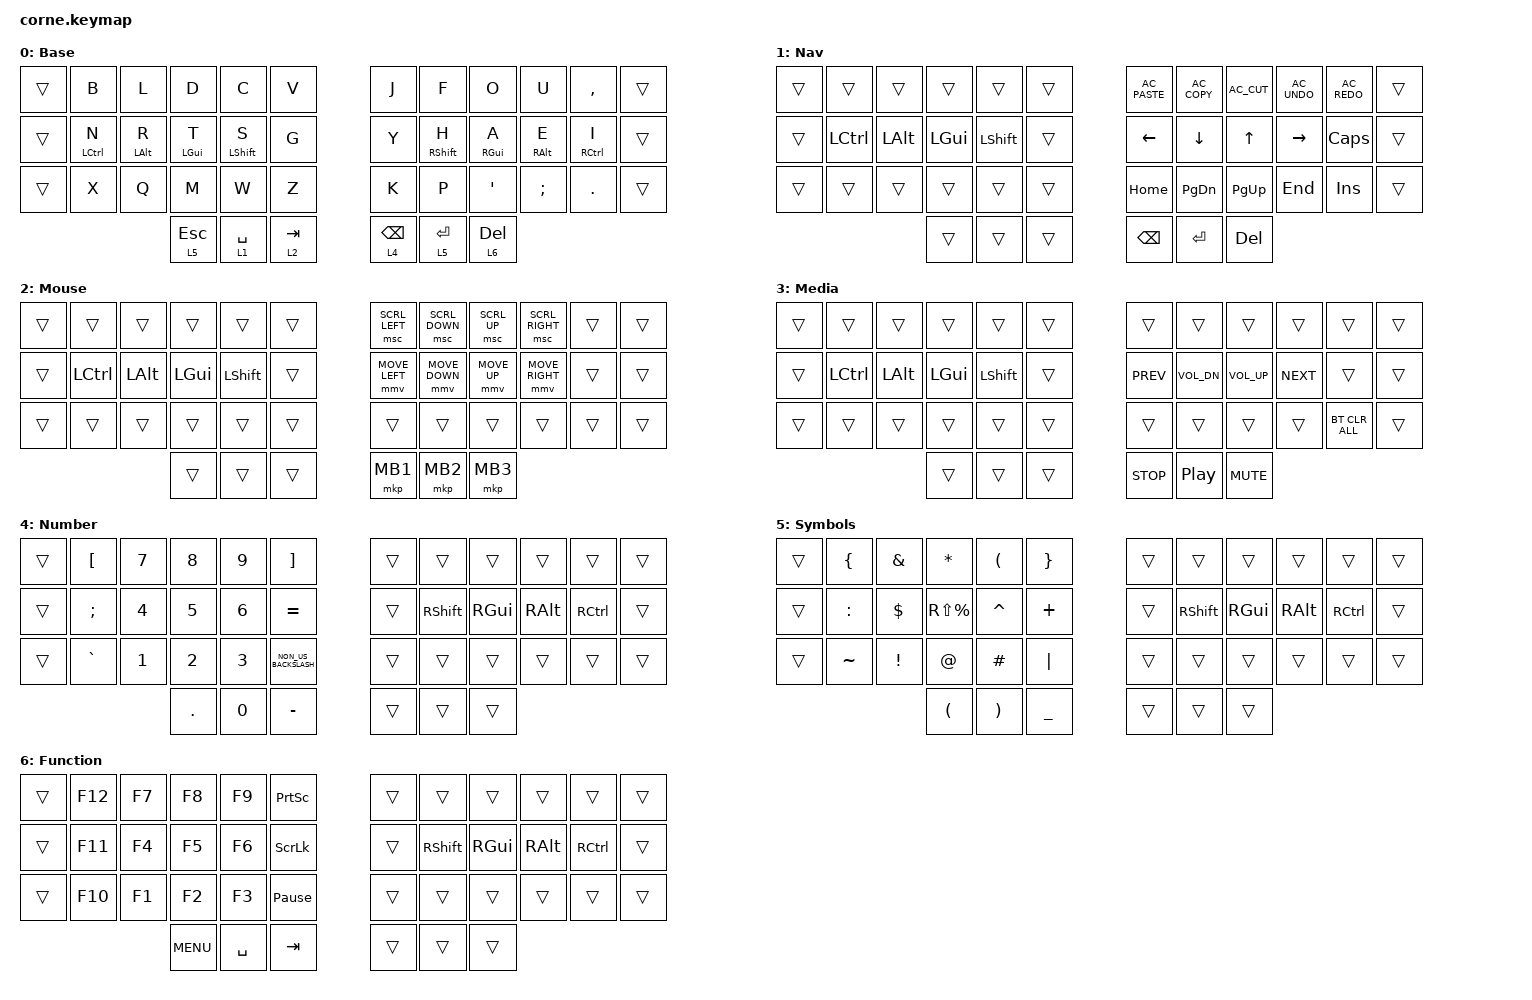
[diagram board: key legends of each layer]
#include <behaviors.dtsi>
#include <dt-bindings/zmk/bt.h>
#include <dt-bindings/zmk/keys.h>
#include <dt-bindings/zmk/pointing.h>

#define DEF 0
#define NAV 1
#define SYM 2
#define ADJ 3
#define EXTRA 4

/ {
    behaviors {
        hm: homerow_mods {
            compatible = "zmk,behavior-hold-tap";
            #binding-cells = <2>;
            tapping-term-ms = <200>;
            flavor = "tap-preferred";
            bindings = <&kp>, <&kp>;

            quick-tap-ms = <180>;
            require-prior-idle-ms = <120>; /* tune to taste */
        };

        para: para {
            compatible = "zmk,behavior-tap-dance";
            #binding-cells = <0>;
            bindings = <&kp LEFT_PARENTHESIS>, <&kp RIGHT_PARENTHESIS>;
        };

        caps: caps {
            compatible = "zmk,behavior-caps-word";
            #binding-cells = <0>;
            continue-list = <MINUS BACKSPACE>;
        };

        paraless: paraless {
            compatible = "zmk,behavior-mod-morph";
            bindings = <&kp LEFT_PARENTHESIS>, <&kp LESS_THAN>;

            #binding-cells = <0>;
            mods = <(MOD_LSFT)>;
        };

        paragreat: paragreat {
            compatible = "zmk,behavior-mod-morph";
            bindings = <&kp RIGHT_PARENTHESIS>, <&kp GREATER_THAN>;

            #binding-cells = <0>;
            mods = <(MOD_LSFT)>;
        };

        hml: homerow_mods_left {
            compatible = "zmk,behavior-hold-tap";
            label = "HOMEROW_MODS_LEFT";
            bindings = <&kp>, <&kp>;

            #binding-cells = <2>;
            tapping-term-ms = <240>;
            quick-tap-ms = <175>;
            require-prior-idle-ms = <150>;
            flavor = "balanced";
            hold-trigger-key-positions = <36 37 38 6 7 8 9 10 11 18 19 20 21 22 23 30 31 32 33 34 35 39 40 41>;
            hold-trigger-on-release;
        };

        hmr: homerow_mods_right {
            compatible = "zmk,behavior-hold-tap";
            label = "HOMEROW_MODS_RIGHT";
            bindings = <&kp>, <&kp>;

            #binding-cells = <2>;
            tapping-term-ms = <240>;
            quick-tap-ms = <175>;
            require-prior-idle-ms = <150>;
            flavor = "balanced";
            hold-trigger-on-release;
            hold-trigger-key-positions = <0 1 2 3 4 5 12 13 14 15 16 17 24 25 26 27 28 29 36 37 38 39 40 41>;
        };
    };

    combos { compatible = "zmk,combos"; };

    //

    keymap {
        compatible = "zmk,keymap";

        Base {
            display-name = "Base";

            // -----------------------------------------------------------------------------------------
            // |  Q  |  W  |  E  |  R  |  T  |   |  Y  |  U   |  I  |  O  |  P  |
            // |  A  |  S  |  D  |  F  |  G  |   |  H  |  J   |  K  |  L  |  ;  |
            // |  Z  |  X  |  C  |  V  |  B  |   |  N  |  M   |  ,  |  .  |  /  |
            // | GUI | CTRL | SHFT | LWR | SPC |   | ENT | RSE  | BKSP | ALT | ESC |

            bindings = <
&trans  &kp B         &kp L            &kp D            &kp C              &kp V        &kp J            &kp F               &kp O             &kp U             &kp COMMA     &trans
&trans  &hml LCTRL N  &hml LEFT_ALT R  &hml LEFT_GUI T  &hml LEFT_SHIFT S  &kp G        &kp Y            &hmr RIGHT_SHIFT H  &hmr RIGHT_GUI A  &hmr RIGHT_ALT E  &hmr RCTRL I  &trans
&trans  &kp X         &kp Q            &kp M            &kp W              &kp Z        &kp K            &kp P               &kp SQT           &kp SEMICOLON     &kp PERIOD    &trans
                                       &lt 5 ESCAPE     &lt 1 SPACE        &lt 2 TAB    &lt 4 BACKSPACE  &lt 5 ENTER         &lt 6 DELETE
            >;
        };

        NAV {
            display-name = "Nav";

            // -----------------------------------------------------------------------------------------
            // |  TAB |  1  |  2  |  3  |  4  |  5  |   |  6  |  7  |  8  |  9  |  0  | BKSP |
            // | BTCLR| BT1 | BT2 | BT3 | BT4 | BT5 |   | LFT | DWN |  UP | RGT |     |      |
            // | SHFT |     |     |     |     |     |   |     |     |     |     |     |      |
            // | GUI | CTRL | SHFT | LWR | SPC |   | ENT | RSE  | BKSP | ALT | ESC |

            bindings = <
&trans  &trans            &trans        &trans        &trans          &trans    &kp C_AC_PASTE  &kp C_AC_COPY  &kp C_AC_CUT  &kp C_AC_UNDO  &kp C_AC_REDO  &trans
&trans  &kp LEFT_CONTROL  &kp LEFT_ALT  &kp LEFT_GUI  &kp LEFT_SHIFT  &trans    &kp LEFT        &kp DOWN       &kp UP        &kp RIGHT      &kp CAPSLOCK   &trans
&trans  &trans            &trans        &trans        &trans          &trans    &kp HOME        &kp PAGE_DOWN  &kp PG_UP     &kp END        &kp INSERT     &trans
                                        &trans        &trans          &trans    &kp BACKSPACE   &kp ENTER      &kp DELETE
            >;
        };

        Mouse {
            display-name = "Mouse";
            bindings = <
&trans  &trans     &trans        &trans        &trans          &trans    &msc SCRL_LEFT  &msc SCRL_DOWN  &msc SCRL_UP  &msc SCRL_RIGHT  &trans  &trans
&trans  &kp LCTRL  &kp LEFT_ALT  &kp LEFT_GUI  &kp LEFT_SHIFT  &trans    &mmv MOVE_LEFT  &mmv MOVE_DOWN  &mmv MOVE_UP  &mmv MOVE_RIGHT  &trans  &trans
&trans  &trans     &trans        &trans        &trans          &trans    &trans          &trans          &trans        &trans           &trans  &trans
                                 &trans        &trans          &trans    &mkp MB1        &mkp MB2        &mkp MB3
            >;
        };

        Media {
            display-name = "Media";

            // -----------------------------------------------------------------------------------------
            // |  TAB |  !  |  @  |  #  |  $  |  %  |   |  ^  |  &  |  *  |  (  |  )  | BKSP |
            // | CTRL |     |     |     |     |     |   |  -  |  =  |  [  |  ]  |  \  |  `   |
            // | SHFT |     |     |     |     |     |   |  _  |  +  |  {  |  }  | "|" |  ~   |
            //                    | GUI |     | SPC |   | ENT |     | ALT |

            bindings = <
&trans  &trans     &trans        &trans        &trans          &trans    &trans      &trans            &trans        &trans      &trans          &trans
&trans  &kp LCTRL  &kp LEFT_ALT  &kp LEFT_GUI  &kp LEFT_SHIFT  &trans    &kp K_PREV  &kp C_VOL_DN      &kp C_VOL_UP  &kp K_NEXT  &trans          &trans
&trans  &trans     &trans        &trans        &trans          &trans    &trans      &trans            &trans        &trans      &bt BT_CLR_ALL  &trans
                                 &trans        &trans          &trans    &kp K_STOP  &kp C_PLAY_PAUSE  &kp K_MUTE
            >;
        };

        NUM {
            display-name = "Number";
            bindings = <
&trans  &kp LEFT_BRACKET  &kp NUMBER_7  &kp NUMBER_8  &kp NUMBER_9  &kp RIGHT_BRACKET       &trans  &trans           &trans         &trans         &trans     &trans
&trans  &kp SEMICOLON     &kp NUMBER_4  &kp NUMBER_5  &kp NUMBER_6  &kp EQUAL               &trans  &kp RIGHT_SHIFT  &kp RIGHT_GUI  &kp RIGHT_ALT  &kp RCTRL  &trans
&trans  &kp GRAVE         &kp NUMBER_1  &kp NUMBER_2  &kp NUMBER_3  &kp NON_US_BACKSLASH    &trans  &trans           &trans         &trans         &trans     &trans
                                        &kp PERIOD    &kp NUMBER_0  &kp MINUS               &trans  &trans           &trans
            >;
        };

        SYM {
            bindings = <
&trans  &kp LEFT_BRACE  &kp AMPERSAND    &kp ASTERISK          &kp LEFT_PARENTHESIS   &kp RIGHT_BRACE    &trans  &trans           &trans         &trans         &trans     &trans
&trans  &kp COLON       &kp DOLLAR       &kp RS(PERCENT)       &kp CARET              &kp PLUS           &trans  &kp RIGHT_SHIFT  &kp RIGHT_GUI  &kp RIGHT_ALT  &kp RCTRL  &trans
&trans  &kp TILDE       &kp EXCLAMATION  &kp AT_SIGN           &kp HASH               &kp PIPE           &trans  &trans           &trans         &trans         &trans     &trans
                                         &kp LEFT_PARENTHESIS  &kp RIGHT_PARENTHESIS  &kp UNDERSCORE     &trans  &trans           &trans
            >;

            label = "Symbols";
        };

        FUN {
            bindings = <
&trans  &kp F12  &kp F7  &kp F8      &kp F9     &kp PRINTSCREEN    &trans  &trans     &trans    &trans    &trans     &trans
&trans  &kp F11  &kp F4  &kp F5      &kp F6     &kp SCROLLLOCK     &trans  &kp RSHFT  &kp RGUI  &kp RALT  &kp RCTRL  &trans
&trans  &kp F10  &kp F1  &kp F2      &kp F3     &kp PAUSE_BREAK    &trans  &trans     &trans    &trans    &trans     &trans
                         &kp K_MENU  &kp SPACE  &kp TAB            &trans  &trans     &trans
            >;

            label = "Function";
        };
    };

    conditional_layers {
        compatible = "zmk,conditional-layers";

        l3 {
            if-layers = <1 5>;
            then-layer = <6>;
        };
    };
};
